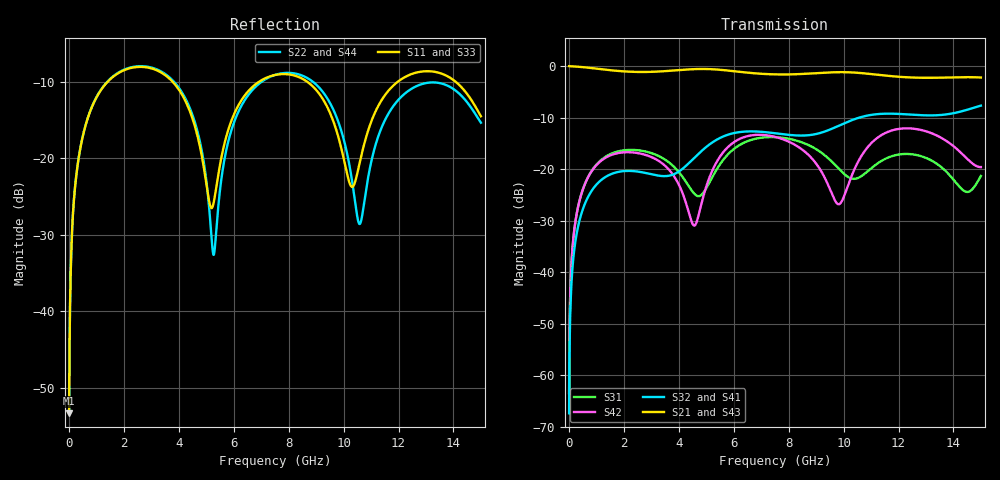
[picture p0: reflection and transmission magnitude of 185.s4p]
! Created with skrf 1.8.0 (http://scikit-rf.org).
# GHz S RI R 50.0
!freq ReS11 ImS11 ReS12 ImS12 ReS13 ImS13
! ReS14 ImS14
! ReS21 ImS21 ReS22 ImS22 ReS23 ImS23
! ReS24 ImS24
! ReS31 ImS31 ReS32 ImS32 ReS33 ImS33
! ReS34 ImS34
! ReS41 ImS41 ReS42 ImS42 ReS43 ImS43
! ReS44 ImS44
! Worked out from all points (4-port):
!   2499 points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, 5 MHz to 15 GHz, reference 50 ohm
!   strongest paths, dB at 5 MHz, 3.476 GHz, 7.19 GHz, 11.1 GHz, 15 GHz:
!     S21: 0.0, -1.0, -1.5, -1.6, -2.2
!     S43: 0.0, -1.0, -1.6, -1.6, -2.2
!     S32: -67.4, -21.4, -12.8, -9.4, -7.7
!     S41: -67.4, -21.4, -12.9, -9.4, -7.7
!     S42: -63.5, -19.2, -13.4, -14.5, -19.6
!     S31: -63.5, -18.1, -13.8, -19.4, -21.3
!   lowest |S11| = -53.3 dB at 5 MHz (marker M1), VSWR 1.00, Z = 50.2 + j0.131 ohm
!   |S11| at or under -10 dB: start of sweep to 1.415 GHz; 3.766 GHz to 6.934 GHz (3.168 GHz wide, 59.2 % of centre); 8.665 GHz to 11.98 GHz (3.319 GHz wide, 32.1 % of centre) (the widest 3 of 4)
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0.005  0.00172 0.00131  0.9982 -0.00335  8.6e-05 0.000662  -8.35e-05 -0.000419
       0.9982 -0.00335  0.00172 0.00131  -8.35e-05 -0.000419  8.58e-05 0.000662
       8.6e-05 0.000662  -8.35e-05 -0.000419  0.00172 0.00131  0.9982 -0.00335
       -8.35e-05 -0.000419  8.58e-05 0.000662  0.9982 -0.00335  0.00172 0.00131
0.3126303  0.0259 0.0858  0.9645 -0.2078  0.0122 0.039  -0.00978 -0.0244
           0.9645 -0.2078  0.0261 0.0858  -0.00978 -0.0244  0.0112 0.0392
           0.0122 0.039  -0.00978 -0.0244  0.0259 0.0858  0.9645 -0.2078
           -0.00978 -0.0244  0.0112 0.0392  0.9645 -0.2078  0.0261 0.0858
1.519383  0.2775 0.178  0.531 -0.7405  0.132 0.0478  -0.0891 -0.0036
          0.531 -0.7405  0.2815 0.1752  -0.0891 -0.00357  0.1202 0.0646
          0.132 0.0478  -0.0891 -0.00357  0.2775 0.178  0.531 -0.7405
          -0.0891 -0.0036  0.1202 0.0646  0.531 -0.7405  0.2815 0.1752
5.045852  0.0486 -0.036  -0.9221 -0.1614  -0.0496 0.0474  -0.0279 0.1656
          -0.9221 -0.1614  0.0262 -0.055  -0.0274 0.1657  0.0299 0.0675
          -0.0496 0.0474  -0.0274 0.1657  0.0483 -0.0355  -0.9221 -0.1611
          -0.0279 0.1656  0.0299 0.0675  -0.9221 -0.1611  0.0263 -0.0544
8.065861  0.3484 -0.0392  -0.0133 0.8308  0.1656 -0.1039  0.2021 -0.0705
          -0.0133 0.8308  0.358 -0.0358  0.202 -0.0715  0.1726 -0.0561
          0.1656 -0.1039  0.202 -0.0715  0.3511 -0.0398  -0.0132 0.8296
          0.2021 -0.0705  0.1726 -0.0561  -0.0132 0.8296  0.3612 -0.0354
10.81075  0.0969 0.0942  0.8455 -0.0542  -0.0315 0.0866  -0.0361 -0.3257
          0.8455 -0.0542  0.0466 0.0389  -0.0379 -0.3264  0.1255 0.0914
          -0.0315 0.0866  -0.0379 -0.3264  0.0925 0.0906  0.8458 -0.0534
          -0.0361 -0.3257  0.1255 0.0914  0.8458 -0.0534  0.0512 0.0347
15  0.1595 -0.0987  -0.6071 -0.481  -0.0738 0.0437  -0.2626 0.3199
    -0.6071 -0.481  0.1618 -0.0533  -0.2595 0.3219  -0.1045 -0.00689
    -0.0738 0.0437  -0.2595 0.3219  0.1648 -0.1042  -0.6055 -0.4809
    -0.2626 0.3199  -0.1045 -0.00689  -0.6055 -0.4809  0.1659 -0.0607
